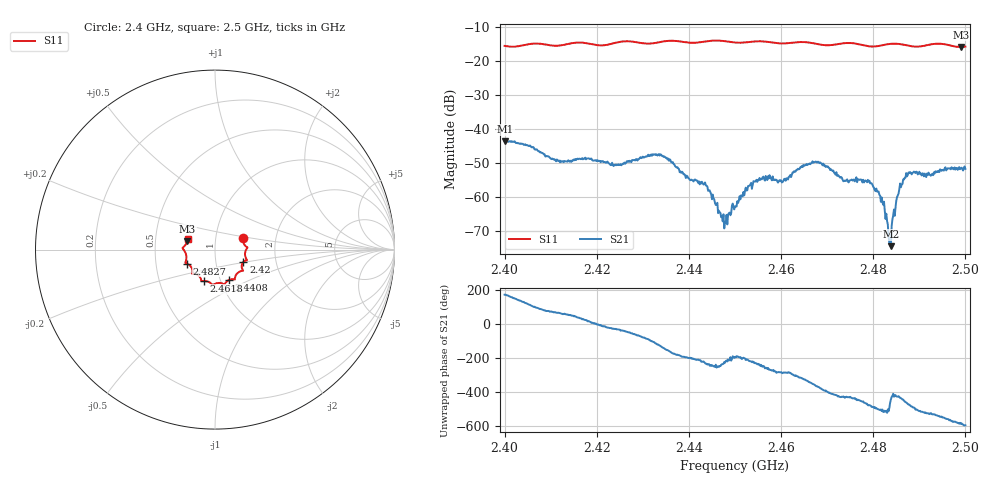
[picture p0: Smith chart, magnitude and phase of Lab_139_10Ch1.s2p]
# Hz S RI R 50
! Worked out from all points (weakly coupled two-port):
!   601 points, 2.4 GHz to 2.5 GHz, reference 50 ohm
!   highest |S21| = -43.59 dB at 2.4002 GHz (marker M1); lowest = -74.6 dB at 2.4838 GHz (marker M2)
!   lowest |S11| = -15.9 dB at 2.499 GHz (marker M3), VSWR 1.38, Z = 36.5 + j3.52 ohm
!   |S11| at or under -10 dB: start of sweep to end of sweep
!   S12 and S22 are empty: the file has one direction only
!   S11 on the Smith chart (normalised r, x): 2.4 GHz: 1.36, +0.17; 2.42 GHz: 1.36, -0.19; 2.4408 GHz: 1.10, -0.38; 2.4618 GHz: 0.84, -0.30; 2.4827 GHz: 0.72, -0.12; 2.5 GHz: 0.73, +0.09
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2.4e9  0.1559 0.0619  -0.00646 0.000758  0 0  0 0
2.400167e9  0.1558 0.0603  -0.00658 0.000695  0 0  0 0
2.4115e9  0.1671 -0.0238  0.00138 0.00312  0 0  0 0
2.416667e9  0.1781 -0.0595  0.00302 0.00195  0 0  0 0
2.42e9  0.1578 -0.0693  0.00335 -0.000132  0 0  0 0
2.433333e9  0.1121 -0.1521  -0.00214 -0.00358  0 0  0 0
2.440833e9  0.079 -0.1687  -0.00157 0.000746  0 0  0 0
2.444e9  0.0561 -0.189  -0.000736 0.0012  0 0  0 0
2.4475e9  0.0471 -0.1923  -0.000323 0.000447  0 0  0 0
2.45e9  0.0278 -0.186  -0.000703 0.000168  0 0  0 0
2.4545e9  -0.00953 -0.1952  -0.00106 0.0013  0 0  0 0
2.461833e9  -0.06 -0.175  0.000611 0.0019  0 0  0 0
2.466667e9  -0.0769 -0.1686  0.0031 0.000589  0 0  0 0
2.474e9  -0.1255 -0.1356  0.000553 -0.00162  0 0  0 0
2.479333e9  -0.1304 -0.1004  -0.000795 -0.00136  0 0  0 0
2.482667e9  -0.157 -0.0777  -0.000429 -0.000196  0 0  0 0
2.483333e9  -0.1611 -0.0762  -0.00023 -0.000111  0 0  0 0
2.483833e9  -0.1634 -0.0756  2.06e-05 -0.000186  0 0  0 0
2.4855e9  -0.1648 -0.0711  0.000465 -0.00102  0 0  0 0
2.4875e9  -0.1603 -0.0557  -0.000742 -0.00197  0 0  0 0
2.499e9  -0.1542 0.0469  -0.00175 0.00194  0 0  0 0
2.5e9  -0.1518 0.0616  -0.0014 0.00216  0 0  0 0
